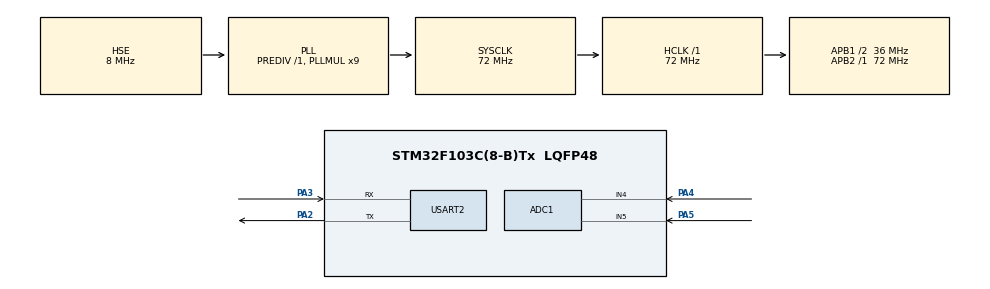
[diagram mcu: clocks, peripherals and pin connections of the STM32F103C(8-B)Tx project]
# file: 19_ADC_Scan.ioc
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ADC1.Channel-0\#ChannelRegularConversion=ADC_CHANNEL_5
ADC1.Channel-1\#ChannelRegularConversion=ADC_CHANNEL_4
ADC1.Channel-2\#ChannelRegularConversion=ADC_CHANNEL_TEMPSENSOR
ADC1.Channel-3\#ChannelRegularConversion=ADC_CHANNEL_VREFINT
ADC1.ContinuousConvMode=ENABLE
ADC1.NbrOfConversion=4
ADC1.NbrOfConversionFlag=1
ADC1.Rank-0\#ChannelRegularConversion=1
ADC1.Rank-1\#ChannelRegularConversion=2
ADC1.Rank-2\#ChannelRegularConversion=3
ADC1.Rank-3\#ChannelRegularConversion=4
ADC1.SamplingTime-0\#ChannelRegularConversion=ADC_SAMPLETIME_71CYCLES_5
ADC1.SamplingTime-1\#ChannelRegularConversion=ADC_SAMPLETIME_71CYCLES_5
ADC1.SamplingTime-2\#ChannelRegularConversion=ADC_SAMPLETIME_71CYCLES_5
ADC1.SamplingTime-3\#ChannelRegularConversion=ADC_SAMPLETIME_71CYCLES_5
ADC1.master=1
Dma.ADC1.0.Direction=DMA_PERIPH_TO_MEMORY
Dma.ADC1.0.Instance=DMA1_Channel1
Dma.ADC1.0.MemDataAlignment=DMA_MDATAALIGN_HALFWORD
Dma.ADC1.0.MemInc=DMA_MINC_ENABLE
Dma.ADC1.0.Mode=DMA_CIRCULAR
Dma.ADC1.0.PeriphDataAlignment=DMA_PDATAALIGN_HALFWORD
Dma.ADC1.0.PeriphInc=DMA_PINC_DISABLE
Dma.ADC1.0.Priority=DMA_PRIORITY_LOW
Dma.Request0=ADC1
Mcu.Family=STM32F1
Mcu.Name=STM32F103C(8-B)Tx
Mcu.Package=LQFP48
NVIC.DMA1_Channel1_IRQn=true\:0\:0\:false\:false\:true\:false\:true\:true
NVIC.PriorityGroup=NVIC_PRIORITYGROUP_4
PA13.Mode=Serial_Wire
PA13.Signal=SYS_JTMS-SWDIO
PA14.Mode=Serial_Wire
PA14.Signal=SYS_JTCK-SWCLK
PA2.Mode=Asynchronous
PA2.Signal=USART2_TX
PA3.Mode=Asynchronous
PA3.Signal=USART2_RX
PA4.Signal=ADCx_IN4
PA5.Signal=ADCx_IN5
PD0-OSC_IN.Mode=HSE-External-Oscillator
PD0-OSC_IN.Signal=RCC_OSC_IN
PD1-OSC_OUT.Mode=HSE-External-Oscillator
PD1-OSC_OUT.Signal=RCC_OSC_OUT
ProjectManager.HeapSize=0x200
ProjectManager.StackSize=0x400
ProjectManager.TargetToolchain=STM32CubeIDE
RCC.ADCPresc=RCC_ADCPCLK2_DIV6
RCC.AHBFreq_Value=72000000
RCC.APB1CLKDivider=RCC_HCLK_DIV2
RCC.APB1Freq_Value=36000000
RCC.APB1TimFreq_Value=72000000
RCC.APB2Freq_Value=72000000
RCC.APB2TimFreq_Value=72000000
RCC.HCLKFreq_Value=72000000
RCC.PLLMUL=RCC_PLL_MUL9
RCC.PLLSourceVirtual=RCC_PLLSOURCE_HSE
RCC.SYSCLKFreq_VALUE=72000000
RCC.SYSCLKSource=RCC_SYSCLKSOURCE_PLLCLK
RCC.USBFreq_Value=72000000
SH.ADCx_IN4.0=ADC1_IN4,IN4
SH.ADCx_IN5.0=ADC1_IN5,IN5
USART2.VirtualMode=VM_ASYNC
VP_ADC1_TempSens_Input.Mode=IN-TempSens
VP_ADC1_Vref_Input.Mode=IN-Vrefint
board=custom

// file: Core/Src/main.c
/* USER CODE BEGIN Header */
/**
  ******************************************************************************
  * @file           : main.c
  * @brief          : Main program body
  ******************************************************************************
  * @attention
  *
  * Copyright (c) 2026 STMicroelectronics.
  * All rights reserved.
  *
  * This software is licensed under terms that can be found in the LICENSE file
  * in the root directory of this software component.
  * If no LICENSE file comes with this software, it is provided AS-IS.
  *
  ******************************************************************************
  */
/* USER CODE END Header */
#include "main.h"

/* USER CODE BEGIN Includes */
#include <stdio.h>
#include <string.h>
#include <math.h>
/* USER CODE END Includes */

ADC_HandleTypeDef hadc1;
DMA_HandleTypeDef hdma_adc1;

UART_HandleTypeDef huart2;

void SystemClock_Config(void);
static void MX_GPIO_Init(void);
static void MX_DMA_Init(void);
static void MX_ADC1_Init(void);
static void MX_USART2_UART_Init(void);

/* USER CODE BEGIN 0 */
uint16_t values[4];
char meassage[50] = "";

float ADC2Resistance(uint32_t adc_value) {
  return (adc_value / (4095.0f - adc_value)) * 10000.0f;
}

float resistance2Temperature(float R1) {
  float B = 3950.0f;
  float R2 = 10000.0f;
  float T2 = 25.0f;
  return (1.0 / ((1.0 / B) * log(R1 / R2) + (1.0 / (T2 + 273.15))) - 273.15);
}

//void HAL_ADC_ConvCpltCallback(ADC_HandleTypeDef* hadc){
//	if (hadc == &hadc1){
//		sprintf(meassage, "%d %d %d %d", values[0], values[1], values[2], values[3]);
//		HAL_UART_Transmit(&huart2, (uint8_t*)meassage, strlen(meassage), HAL_MAX_DELAY);
//	}
//}
/* USER CODE END 0 */

int main(void)
{

  /* MCU Configuration--------------------------------------------------------*/

  /* Reset of all peripherals, Initializes the Flash interface and the Systick. */
  HAL_Init();

  /* Configure the system clock */
  SystemClock_Config();

  /* Initialize all configured peripherals */
  MX_GPIO_Init();
  MX_DMA_Init();
  MX_ADC1_Init();
  MX_USART2_UART_Init();
  /* USER CODE BEGIN 2 */
  HAL_ADCEx_Calibration_Start(&hadc1);
  HAL_ADC_Start_DMA(&hadc1, (uint32_t*)values, 4);

//  float NTC_R = 0.0;
//  float temperature = 0.0;

  float Vref = 0.0;
  float voltage = 0.0;
  /* USER CODE END 2 */

  /* Infinite loop */
  /* USER CODE BEGIN WHILE */
  while (1)
  {
	  HAL_Delay(500);

//	  NTC_R = ADC2Resistance(values[1]);
//	  temperature = resistance2Temperature(NTC_R);
//
//	  sprintf(meassage, "阻值：%.0f Ω  温度：%.2f ℃", NTC_R, temperature);
//	  HAL_UART_Transmit(&huart2, (uint8_t*)meassage, strlen(meassage), HAL_MAX_DELAY);

	  Vref = 1.2 * (4095.0 / (float)values[3]);
	  voltage = (values[0] / 4095.0) * Vref;
	  sprintf(meassage, "ADC：%d  %.2f", values[0], voltage);
	  HAL_UART_Transmit(&huart2, (uint8_t*)meassage, strlen(meassage), HAL_MAX_DELAY);
    /* USER CODE END WHILE */

  }
}

void SystemClock_Config(void)
{
  RCC_OscInitTypeDef RCC_OscInitStruct = {0};
  RCC_ClkInitTypeDef RCC_ClkInitStruct = {0};
  RCC_PeriphCLKInitTypeDef PeriphClkInit = {0};

  /** Initializes the RCC Oscillators according to the specified parameters
  * in the RCC_OscInitTypeDef structure.
  */
  RCC_OscInitStruct.OscillatorType = RCC_OSCILLATORTYPE_HSE;
  RCC_OscInitStruct.HSEState = RCC_HSE_ON;
  RCC_OscInitStruct.HSEPredivValue = RCC_HSE_PREDIV_DIV1;
  RCC_OscInitStruct.HSIState = RCC_HSI_ON;
  RCC_OscInitStruct.PLL.PLLState = RCC_PLL_ON;
  RCC_OscInitStruct.PLL.PLLSource = RCC_PLLSOURCE_HSE;
  RCC_OscInitStruct.PLL.PLLMUL = RCC_PLL_MUL9;
  if (HAL_RCC_OscConfig(&RCC_OscInitStruct) != HAL_OK)
  {
    Error_Handler();
  }

  /** Initializes the CPU, AHB and APB buses clocks
  */
  RCC_ClkInitStruct.ClockType = RCC_CLOCKTYPE_HCLK|RCC_CLOCKTYPE_SYSCLK
                              |RCC_CLOCKTYPE_PCLK1|RCC_CLOCKTYPE_PCLK2;
  RCC_ClkInitStruct.SYSCLKSource = RCC_SYSCLKSOURCE_PLLCLK;
  RCC_ClkInitStruct.AHBCLKDivider = RCC_SYSCLK_DIV1;
  RCC_ClkInitStruct.APB1CLKDivider = RCC_HCLK_DIV2;
  RCC_ClkInitStruct.APB2CLKDivider = RCC_HCLK_DIV1;

  if (HAL_RCC_ClockConfig(&RCC_ClkInitStruct, FLASH_LATENCY_2) != HAL_OK)
  {
    Error_Handler();
  }
  PeriphClkInit.PeriphClockSelection = RCC_PERIPHCLK_ADC;
  PeriphClkInit.AdcClockSelection = RCC_ADCPCLK2_DIV6;
  if (HAL_RCCEx_PeriphCLKConfig(&PeriphClkInit) != HAL_OK)
  {
    Error_Handler();
  }
}

static void MX_ADC1_Init(void)
{

  ADC_ChannelConfTypeDef sConfig = {0};

  /** Common config
  */
  hadc1.Instance = ADC1;
  hadc1.Init.ScanConvMode = ADC_SCAN_ENABLE;
  hadc1.Init.ContinuousConvMode = ENABLE;
  hadc1.Init.DiscontinuousConvMode = DISABLE;
  hadc1.Init.ExternalTrigConv = ADC_SOFTWARE_START;
  hadc1.Init.DataAlign = ADC_DATAALIGN_RIGHT;
  hadc1.Init.NbrOfConversion = 4;
  if (HAL_ADC_Init(&hadc1) != HAL_OK)
  {
    Error_Handler();
  }

  /** Configure Regular Channel
  */
  sConfig.Channel = ADC_CHANNEL_5;
  sConfig.Rank = ADC_REGULAR_RANK_1;
  sConfig.SamplingTime = ADC_SAMPLETIME_71CYCLES_5;
  if (HAL_ADC_ConfigChannel(&hadc1, &sConfig) != HAL_OK)
  {
    Error_Handler();
  }

  /** Configure Regular Channel
  */
  sConfig.Channel = ADC_CHANNEL_4;
  sConfig.Rank = ADC_REGULAR_RANK_2;
  if (HAL_ADC_ConfigChannel(&hadc1, &sConfig) != HAL_OK)
  {
    Error_Handler();
  }

  /** Configure Regular Channel
  */
  sConfig.Channel = ADC_CHANNEL_TEMPSENSOR;
  sConfig.Rank = ADC_REGULAR_RANK_3;
  if (HAL_ADC_ConfigChannel(&hadc1, &sConfig) != HAL_OK)
  {
    Error_Handler();
  }

  /** Configure Regular Channel
  */
  sConfig.Channel = ADC_CHANNEL_VREFINT;
  sConfig.Rank = ADC_REGULAR_RANK_4;
  if (HAL_ADC_ConfigChannel(&hadc1, &sConfig) != HAL_OK)
  {
    Error_Handler();
  }

}

static void MX_USART2_UART_Init(void)
{

  huart2.Instance = USART2;
  huart2.Init.BaudRate = 115200;
  huart2.Init.WordLength = UART_WORDLENGTH_8B;
  huart2.Init.StopBits = UART_STOPBITS_1;
  huart2.Init.Parity = UART_PARITY_NONE;
  huart2.Init.Mode = UART_MODE_TX_RX;
  huart2.Init.HwFlowCtl = UART_HWCONTROL_NONE;
  huart2.Init.OverSampling = UART_OVERSAMPLING_16;
  if (HAL_UART_Init(&huart2) != HAL_OK)
  {
    Error_Handler();
  }

}

static void MX_DMA_Init(void)
{

  /* DMA controller clock enable */
  __HAL_RCC_DMA1_CLK_ENABLE();

  /* DMA interrupt init */
  /* DMA1_Channel1_IRQn interrupt configuration */
  HAL_NVIC_SetPriority(DMA1_Channel1_IRQn, 0, 0);
  HAL_NVIC_EnableIRQ(DMA1_Channel1_IRQn);

}

static void MX_GPIO_Init(void)
{

  /* GPIO Ports Clock Enable */
  __HAL_RCC_GPIOD_CLK_ENABLE();
  __HAL_RCC_GPIOA_CLK_ENABLE();

}

void Error_Handler(void)
{
  __disable_irq();
  while (1)
  {
  }
}
